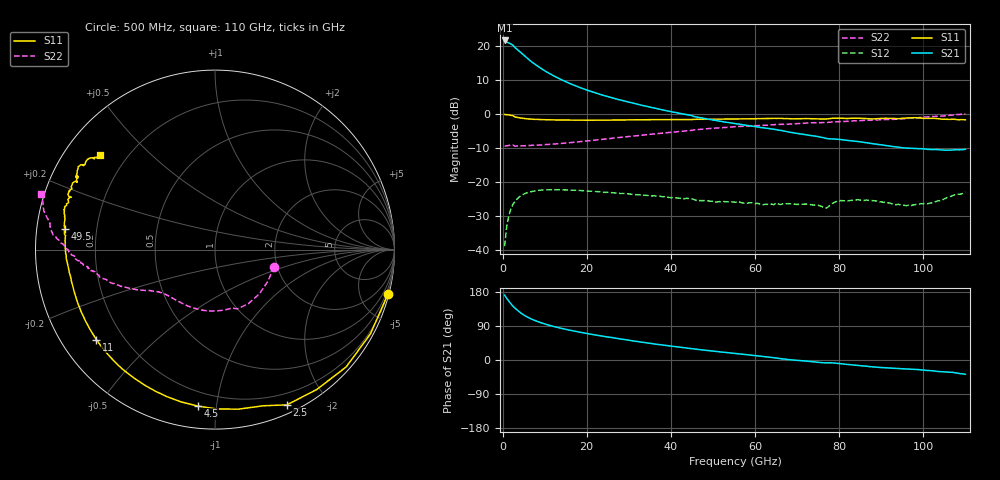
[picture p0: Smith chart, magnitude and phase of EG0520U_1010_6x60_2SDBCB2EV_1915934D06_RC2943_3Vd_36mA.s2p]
!File name = EG0520U_1010_6x60_2SDBCB2EV_1915934D06_RC2943_3Vd_36mA.s2p
!Base file name = EG0520U_1010_6x60_2SDBCB2EV_1915934D06_RC2943
!Date = 8/23/2019
!Time = 1:03 PM
!Test duration(min) = 0.15
!Test = S-Parameters
!MPTS version = 8.91.5
!State File = C:\Data\PNA\20190821205423\S-Parameters_2019-08-23.sta
!Cal File =
!ComputerName = CMPE-LAB-6
!Comments =
!Attenuation = 0
!Z0 = 50
!Input Power(dBm) = -13.00
!Device ID = EG0520U_1010_6x60_2SDBCB2EV
!Row = 29
!Column = 43
!Technology = QPHT09
!Lot/Wafer = 1915934D06
!Gate Size = 360
!Mask = EG0520
!Cal Standards = GaAs BCB
!Cal Kit = EG2306
!Job Number = 20190821205423
!Device Type = FET
!set_Vg(v) = -1.500
!set_Vd(v) = 3.000
!set_Vd(mA) = 36.000
!file_name = EG0520U_1010_6x60_2SDBCB2EV_1915934D06_RC2943_3Vd_36mA.s2p
!Vd(V) = 3.000
!Vd(mA) = 36.034
!Vg(V) = -0.513
!Vg(mA) = -0.002
# GHz  S  DB  R  50
!%	Freq(GHz)  s11(dB)  s11(deg)  s21(dB)  s21(deg)  s12(dB)  s12(deg)  s22(dB)  s22(deg)
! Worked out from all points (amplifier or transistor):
!   220 points, 500 MHz to 110 GHz, reference 50 ohm
!   highest |S21| = 21.7 dB at 500 MHz (marker M1)
!   |S21| within 3 dB of that: start of sweep to 3.807 GHz
!   unconditionally stable (mu >= 1): 33.61 GHz to 97.03 GHz
!   at 18.5 GHz: K = 0.54, MSG = 15.1 dB, |S12| = -22.4 dB
!   at 55.5 GHz: K = 1.57, MAG = 7.1 dB, |S12| = -25.9 dB
!   at 110 GHz: K = -1.07, MSG = 6.3 dB, |S12| = -22.8 dB
!   S11 on the Smith chart (normalised r, x): 500 MHz: 0.16, -7.92; 2.5 GHz: 0.08, -1.56; 4.5 GHz: 0.12, -0.89; 11 GHz: 0.10, -0.33; 49.5 GHz: 0.08, +0.07; 110 GHz: 0.11, +0.36
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0.5  -0.04 -14.4  21.71 171.2  -38.79 81.4  -9.31 -16.1
1  -0.13 -28.5  21.31 162.7  -33.01 73.8  -9.28 -30.8
1.5  -0.17 -41.8  20.97 155.5  -29.85 66.5  -9.14 -44.8
2  -0.32 -53.9  20.70 148.1  -27.83 59.7  -9.02 -58.4
2.5  -0.42 -65.2  20.27 141.7  -26.45 53.9  -9.04 -69.2
3  -0.81 -72.8  19.59 136.6  -25.63 49.6  -9.39 -73.8
3.5  -0.93 -81.6  19.05 131.5  -24.86 45.2  -9.35 -81.9
4.5  -1.14 -96.3  17.94 122.8  -23.85 37.7  -9.28 -95.5
5.5  -1.29 -108.0  16.86 115.8  -23.24 31.9  -9.25 -105.8
7  -1.45 -121.3  15.36 107.4  -22.69 25.3  -9.14 -116.7
9  -1.55 -133.7  13.60 98.9  -22.31 19.1  -9.03 -125.8
11  -1.62 -142.8  12.09 91.9  -22.18 14.3  -8.87 -132.2
14.5  -1.70 -153.8  9.87 82.2  -22.23 8.7  -8.51 -139.1
19  -1.74 -162.8  7.59 72.0  -22.46 3.9  -7.97 -144.2
26.5  -1.71 -172.2  4.67 58.0  -23.09 0.0  -6.99 -149.4
37  -1.57 179.4  1.57 40.9  -24.05 -1.5  -5.66 -155.5
49.5  -1.47 172.1  -1.57 24.2  -25.58 -0.2  -4.15 -163.3
55.5  -1.39 168.9  -2.77 17.1  -25.86 1.1  -3.63 -166.5
73.5  -1.31 160.4  -6.29 -4.4  -26.65 0.6  -2.49 -174.3
92  -1.23 151.8  -9.34 -21.5  -26.11 -13.0  -1.50 178.3
101  -1.20 147.3  -10.31 -27.5  -26.34 -8.0  -0.75 173.5
110  -1.62 140.5  -10.30 -37.6  -22.84 -17.7  0.14 162.2
